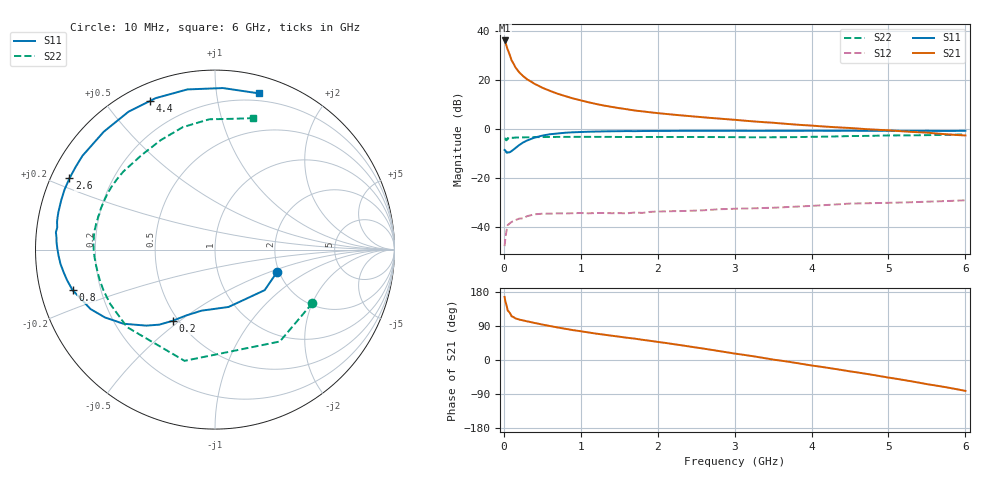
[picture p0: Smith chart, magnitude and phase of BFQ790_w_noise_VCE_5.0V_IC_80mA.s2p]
! Infineon Technologies  Discrete & RF Semiconductors
! BFQ790
! VCE =  5.0 V,  IC =  80 mA
! Common Emitter S-Parameters:  May 2015
# GHz  S  MA  R  50
!  f  S11  S21  S12  S22
! GHz  MAG  ANG  MAG  ANG  MAG  ANG  MAG  ANG
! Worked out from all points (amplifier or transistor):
!   77 points, 10 MHz to 6 GHz, reference 50 ohm
!   highest |S21| = 36.0 dB at 10 MHz (marker M1)
!   |S21| within 3 dB of that: start of sweep to 42.18 MHz
!   unconditionally stable (mu >= 1): start of sweep to 16.44 MHz; 216.5 MHz to 310.8 MHz; 1.213 GHz to end of sweep
!   at 130 MHz: K = 0.83, MSG = 31.9 dB, |S12| = -37.6 dB
!   at 2.2 GHz: K = 1.23, MAG = 16.8 dB, |S12| = -33.7 dB
!   at 6 GHz: K = 1.37, MAG = 9.6 dB, |S12| = -29.2 dB
!   lowest NFmin = 2.44 dB at 1.5 GHz
!   S11 on the Smith chart (normalised r, x): 10 MHz: 1.94, -0.57; 200 MHz: 0.47, -0.47; 800 MHz: 0.10, -0.14; 2.6 GHz: 0.05, +0.23; 4.4 GHz: 0.07, +0.65; 6 GHz: 0.14, +1.31
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0.01  0.3669 -20.3  62.88 166.4  0.004 36.1  0.619 -28.8
0.02  0.3573 -39.2  58.06 154.1  0.0058 44.6  0.6266 -54.8
0.05  0.3284 -76.7  40.8 130.7  0.0108 34.0  0.6425 -105.3
0.1  0.3486 -102.5  24.82 115.6  0.0125 21.1  0.6532 -138.6
0.15  0.4003 -113.6  17.8 110.0  0.0136 21.3  0.6576 -152.5
0.2  0.4621 -120.8  14.09 106.7  0.0146 21.3  0.6615 -159.9
0.25  0.521 -126.6  11.81 104.4  0.0148 18.7  0.6639 -164.8
0.3  0.5708 -132.1  10.2 102.1  0.0163 14.0  0.6656 -168.3
0.4  0.6573 -141.1  8.177 97.7  0.0179 13.7  0.6696 -173.3
0.5  0.72 -148.3  6.831 93.5  0.0184 11.0  0.673 -176.9
0.6  0.7687 -154.5  5.889 89.7  0.0184 9.4  0.6758 -180.0
0.7  0.795 -159.7  5.142 85.8  0.0187 8.8  0.6775 177.7
0.8  0.8251 -164.1  4.597 82.3  0.0186 5.5  0.6781 175.8
1.1  0.8646 -174.7  3.448 72.7  0.0187 3.4  0.6791 170.7
1.5  0.8855 175.8  2.615 61.5  0.0189 -0.1  0.6756 165.3
2.1  0.8979 164.4  1.998 45.1  0.0205 -2.4  0.6748 157.3
2.6  0.9028 153.9  1.699 29.9  0.0216 -5.1  0.6742 148.3
3.1  0.9015 142.4  1.466 14.2  0.0234 -11.3  0.6677 137.3
4.1  0.9043 120.0  1.122 -17.3  0.0271 -21.2  0.6832 114.0
4.4  0.9039 113.5  1.048 -26.6  0.0289 -25.7  0.6983 107.0
5.1  0.9012 97.3  0.9 -49.5  0.0309 -36.8  0.7267 90.3
6  0.904 74.4  0.725 -81.5  0.0345 -54.6  0.7625 73.9
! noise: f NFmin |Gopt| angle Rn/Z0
0.45  3.61  0.36  127  0.38
0.9  2.62  0.51  162  0.14
1.5  2.44  0.64  -176  0.07
1.8  2.6  0.66  -171  0.08
2.6  3.1  0.71  -153  0.19
3.5  3.8  0.82  -137  0.47
